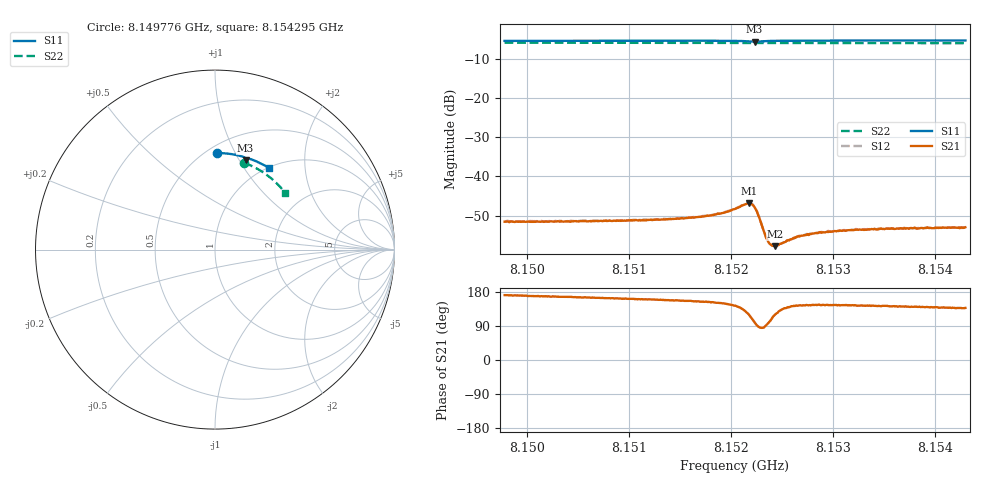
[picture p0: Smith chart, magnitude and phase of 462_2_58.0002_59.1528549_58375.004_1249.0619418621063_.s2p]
#  HZ  S  RI  R  50.00
! Rohde & Schwarz Vector Network Analyzer
! Rohde-Schwarz,ZNB20-2Port,1311601062101988,3.16
! Created: UTC 3/21/2024, 1:11:00 AM
! freq[Hz]  re:S11  im:S11  re:S21  im:S21  re:S12  im:S12  re:S22  im:S22
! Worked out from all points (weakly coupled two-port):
!   401 points, 8.149776 GHz to 8.154295 GHz, reference 50 ohm
!   highest |S21| = -46.91 dB at 8.152171 GHz (marker M1); lowest = -57.8 dB at 8.152431 GHz (marker M2)
!   lowest |S11| = -5.6 dB at 8.152228 GHz (marker M3), VSWR 3.22, Z = 38.6 + j53.2 ohm
!   |S11| at or under -10 dB: nowhere
!   |S22| runs from -6.0 to -5.9 dB; largest |S21 - S12| = 0.00013
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8.1497762e9  0.00841 0.5378  -0.0026 0.000407  -0.00262 0.000451  0.1634 0.4829
8.1505332e9  0.0612 0.5357  -0.00258 0.000709  -0.0026 0.000742  0.2084 0.464
8.1508834e9  0.0855 0.533  -0.0026 0.000812  -0.0026 0.000855  0.2285 0.4539
8.1512901e9  0.1136 0.5281  -0.00261 0.00102  -0.00263 0.00101  0.251 0.4411
8.1517194e9  0.1439 0.5211  -0.00276 0.00135  -0.00279 0.00139  0.274 0.4263
8.1519002e9  0.1572 0.5169  -0.00292 0.00167  -0.00295 0.00176  0.2836 0.4198
8.1520358e9  0.1675 0.5118  -0.00309 0.00227  -0.00303 0.00238  0.2906 0.4145
8.1521375e9  0.1739 0.5042  -0.00276 0.00344  -0.00276 0.0035  0.2956 0.4106
8.1521713e9  0.1742 0.5007  -0.00225 0.00391  -0.00221 0.00398  0.2973 0.4091
8.1522052e9  0.1724 0.4982  -0.00132 0.00416  -0.00127 0.00424  0.2988 0.4079
8.1522278e9  0.1705 0.4979  -0.000649 0.00398  -0.000628 0.00402  0.2997 0.407
8.1522617e9  0.1686 0.4999  7.37e-05 0.00323  0.000121 0.00329  0.3014 0.4058
8.1523295e9  0.1718 0.5054  4.94e-05 0.00184  8.77e-05 0.0018  0.3047 0.4035
8.1523634e9  0.1749 0.5067  -0.000199 0.00143  -0.000207 0.00144  0.3066 0.4023
8.1523973e9  0.1781 0.5073  -0.000433 0.00123  -0.000458 0.00125  0.3083 0.4009
8.1524312e9  0.181 0.5073  -0.000651 0.00111  -0.000682 0.00112  0.3101 0.3995
8.1524651e9  0.184 0.5071  -0.000825 0.00105  -0.000814 0.00107  0.3118 0.3982
8.1526346e9  0.1976 0.5041  -0.00136 0.000987  -0.0013 0.00102  0.32 0.3914
8.1527927e9  0.2086 0.5004  -0.00154 0.00106  -0.00154 0.00111  0.3277 0.3847
8.1530865e9  0.2283 0.4925  -0.00164 0.00116  -0.00164 0.0012  0.3412 0.3719
8.1535497e9  0.2576 0.4787  -0.00169 0.00132  -0.00168 0.00135  0.3617 0.3511
8.1542953e9  0.3025 0.453  -0.00164 0.00152  -0.00163 0.00155  0.3916 0.3152
